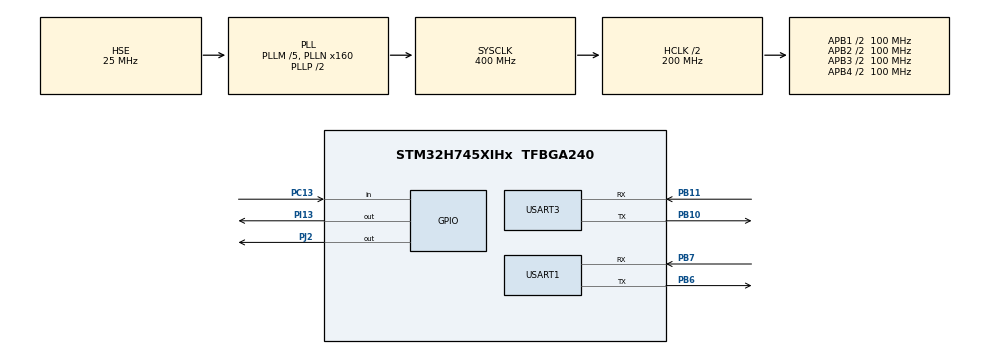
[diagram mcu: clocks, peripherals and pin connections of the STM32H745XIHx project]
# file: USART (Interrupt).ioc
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CortexM4.IPs=FATFS_M4\:I,FREERTOS_M4\:I,IWDG2\:I,RCC,USB_DEVICE_M4\:I,USB_HOST_M4\:I,WWDG2\:I,DMA,BDMA,MDMA,NVIC2\:I,ETH\:I,FDCAN1\:I,FDCAN2\:I,FMC\:I,QUADSPI\:I,SAI2\:I,SDMMC1\:I,USART3,LTDC\:I,USB_OTG_FS\:I,SAI4\:I,DEBUG,PDM2PCM_M4\:I,PWR,RESMGR_UTILITY,SYS_M4\:I,CORTEX_M4\:I,OPENAMP_M4\:I,VREFBUF
CortexM7.IPs=FATFS_M7\:I,FREERTOS_M7\:I,IWDG1\:I,RCC\:I,USB_DEVICE_M7\:I,USB_HOST_M7\:I,WWDG1\:I,DMA\:I,BDMA\:I,MDMA\:I,NVIC1\:I,CORTEX_M7\:I,DEBUG\:I,PDM2PCM_M7\:I,PWR\:I,RESMGR_UTILITY\:I,SYS\:I,OPENAMP_M7\:I,VREFBUF\:I,USART1\:I,USART3\:I,TIM5\:I,TIM6\:I
CortexM7.Pins=PC13,PI13,PJ2
Dma.Request0=USART1_RX
Dma.USART1_RX.0.Direction=DMA_PERIPH_TO_MEMORY
Dma.USART1_RX.0.EventEnable=DISABLE
Dma.USART1_RX.0.FIFOMode=DMA_FIFOMODE_DISABLE
Dma.USART1_RX.0.Instance=DMA2_Stream5
Dma.USART1_RX.0.MemDataAlignment=DMA_MDATAALIGN_BYTE
Dma.USART1_RX.0.MemInc=DMA_MINC_ENABLE
Dma.USART1_RX.0.Mode=DMA_NORMAL
Dma.USART1_RX.0.PeriphDataAlignment=DMA_PDATAALIGN_BYTE
Dma.USART1_RX.0.PeriphInc=DMA_PINC_DISABLE
Dma.USART1_RX.0.Polarity=HAL_DMAMUX_REQ_GEN_RISING
Dma.USART1_RX.0.Priority=DMA_PRIORITY_LOW
Dma.USART1_RX.0.RequestNumber=1
Dma.USART1_RX.0.SignalID=NONE
Dma.USART1_RX.0.SyncEnable=DISABLE
Dma.USART1_RX.0.SyncPolarity=HAL_DMAMUX_SYNC_NO_EVENT
Dma.USART1_RX.0.SyncRequestNumber=1
Dma.USART1_RX.0.SyncSignalID=NONE
Mcu.Family=STM32H7
Mcu.Name=STM32H745XIHx
Mcu.Package=TFBGA240
NVIC1.DMA2_Stream5_IRQn=true\:0\:0\:false\:false\:true\:false\:true
NVIC1.PriorityGroup=NVIC_PRIORITYGROUP_4
NVIC1.TIM6_DAC_IRQn=true\:0\:0\:false\:false\:true\:true\:true
NVIC1.USART1_IRQn=true\:0\:0\:false\:false\:true\:true\:true
NVIC1.USART3_IRQn=true\:0\:0\:false\:false\:true\:true\:true
NVIC2.PriorityGroup=NVIC_PRIORITYGROUP_4
PB10.Mode=Asynchronous
PB10.PinAttribute=CortexM7
PB10.Signal=USART3_TX
PB11.Mode=Asynchronous
PB11.PinAttribute=CortexM7
PB11.Signal=USART3_RX
PB6.Mode=Asynchronous
PB6.PinAttribute=CortexM7
PB6.Signal=USART1_TX
PB7.Mode=Asynchronous
PB7.PinAttribute=CortexM7
PB7.Signal=USART1_RX
PC13.PinAttribute=CortexM7
PC13.Signal=GPIO_Input
PH0-OSC_IN\ (PH0).Mode=HSE-External-Clock-Source
PH0-OSC_IN\ (PH0).PinAttribute=CortexM7
PH0-OSC_IN\ (PH0).Signal=RCC_OSC_IN
PI13.PinAttribute=CortexM7
PI13.Signal=GPIO_Output
PJ2.PinAttribute=CortexM7
PJ2.Signal=GPIO_Output
ProjectManager.HeapSize=M4-0x200,M7-0x200
ProjectManager.StackSize=M4-0x400,M7-0x400
ProjectManager.TargetToolchain=STM32CubeIDE
RCC.ADCFreq_Value=50390625
RCC.APB1Freq_Value=100000000
RCC.APB2Freq_Value=100000000
RCC.APB3Freq_Value=100000000
RCC.APB4Freq_Value=100000000
RCC.CortexFreq_Value=400000000
RCC.D1PPRE=RCC_APB3_DIV2
RCC.D2PPRE1=RCC_APB1_DIV2
RCC.D2PPRE2=RCC_APB2_DIV2
RCC.D3PPRE=RCC_APB4_DIV2
RCC.DIVM1=5
RCC.DIVN1=160
RCC.DIVN3=192
RCC.DIVQ1=4
RCC.DIVR1=4
RCC.HCLKFreq_Value=200000000
RCC.HPRE=RCC_HCLK_DIV2
RCC.PLL2FRACN=0
RCC.PLL3FRACN=0
RCC.PLLFRACN=0
RCC.PLLSourceVirtual=RCC_PLLSOURCE_HSE
RCC.PWR_Regulator_Voltage_Scale=PWR_REGULATOR_VOLTAGE_SCALE1
RCC.SYSCLKFreq_VALUE=400000000
RCC.SYSCLKSource=RCC_SYSCLKSOURCE_PLLCLK
RCC.SupplySource=PWR_DIRECT_SMPS_SUPPLY
RCC.USBFreq_Value=200000000
TIM6.AutoReloadPreload=TIM_AUTORELOAD_PRELOAD_ENABLE
TIM6.Prescaler=200
USART1.VirtualMode-Asynchronous=VM_ASYNC
USART3.VirtualMode-Asynchronous=VM_ASYNC
VP_SYS_M4_VS_Systick.Mode=SysTick
VP_TIM6_VS_ClockSourceINT.Mode=Enable_Timer
board=STM32H745I-DISCO

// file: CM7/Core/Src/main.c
/* USER CODE BEGIN Header */
/**
  ******************************************************************************
  * @file           : main.c
  * @brief          : Main program body
  ******************************************************************************
  * @attention
  *
  * <h2><center>&copy; Copyright (c) 2022 STMicroelectronics.
  * All rights reserved.</center></h2>
  *
  * This software component is licensed by ST under BSD 3-Clause license,
  * the "License"; You may not use this file except in compliance with the
  * License. You may obtain a copy of the License at:
  *                        opensource.org/licenses/BSD-3-Clause
  *
  ******************************************************************************
  */
/* USER CODE END Header */
#include "main.h"

/* USER CODE BEGIN PTD */
#define TRUE  1
#define FALSE 0
/* USER CODE END PTD */

/* USER CODE BEGIN PD */

#ifndef HSEM_ID_0
#define HSEM_ID_0 (0U) /* HW semaphore 0*/
#endif
/* USER CODE END PD */

TIM_HandleTypeDef htim6;

UART_HandleTypeDef huart1;
UART_HandleTypeDef huart3;
DMA_HandleTypeDef hdma_usart1_rx;

void SystemClock_Config(void);
static void MX_GPIO_Init(void);
static void MX_USART1_UART_Init(void);
static void MX_USART3_UART_Init(void);
static void MX_DMA_Init(void);
static void MX_TIM6_Init(void);

/* USER CODE BEGIN 0 */
uint8_t Tx_Data[20]= "hello\r\n";
uint8_t Tx1_Data[20]= "All goods?\r";
uint8_t Rx_Data;
uint8_t buff[20]={0};
uint16_t Flag=FALSE;
uint16_t i=0;
uint8_t Pin_status;
uint16_t prev_time,curr_time,tim;
/* USER CODE END 0 */

int main(void)
{
/* USER CODE BEGIN Boot_Mode_Sequence_0 */
//  int32_t timeout;
/* USER CODE END Boot_Mode_Sequence_0 */

/* USER CODE BEGIN Boot_Mode_Sequence_1 */
//  /* Wait until CPU2 boots and enters in stop mode or timeout*/
//  timeout = 0xFFFF;
//  while((__HAL_RCC_GET_FLAG(RCC_FLAG_D2CKRDY) != RESET) && (timeout-- > 0));
//  if ( timeout < 0 )
//  {
//  Error_Handler();
//  }
/* USER CODE END Boot_Mode_Sequence_1 */
  /* MCU Configuration--------------------------------------------------------*/

  /* Reset of all peripherals, Initializes the Flash interface and the Systick. */
  HAL_Init();

  /* Configure the system clock */
  SystemClock_Config();
/* USER CODE BEGIN Boot_Mode_Sequence_2 */
/* When system initialization is finished, Cortex-M7 will release Cortex-M4 by means of
HSEM notification */
/*HW semaphore Clock enable*/
//__HAL_RCC_HSEM_CLK_ENABLE();
///*Take HSEM */
//HAL_HSEM_FastTake(HSEM_ID_0);
///*Release HSEM in order to notify the CPU2(CM4)*/
//HAL_HSEM_Release(HSEM_ID_0,0);
///* wait until CPU2 wakes up from stop mode */
//timeout = 0xFFFF;
//while((__HAL_RCC_GET_FLAG(RCC_FLAG_D2CKRDY) == RESET) && (timeout-- > 0));
//if ( timeout < 0 )
//{
//Error_Handler();
//}
/* USER CODE END Boot_Mode_Sequence_2 */

  /* Initialize all configured peripherals */
  MX_DMA_Init();
  MX_GPIO_Init();
  MX_USART1_UART_Init();
  MX_USART3_UART_Init();
  MX_TIM6_Init();
  /* USER CODE BEGIN 2 */
  HAL_TIM_Base_Start(&htim6);

  prev_time=__HAL_TIM_GET_COUNTER(&htim6);
  //HAL_Delay(1000);
  HAL_UART_Transmit(&huart1, Tx_Data, sizeof(Tx_Data), 1000);
  HAL_GPIO_TogglePin(GPIOJ, GPIO_PIN_2);
  curr_time=__HAL_TIM_GET_COUNTER(&htim6);
  HAL_UART_Receive_IT(&huart1, &Rx_Data, 1);
  //UART_Start_Receive_DMA(&huart1, buff,1);

  //HAL_UART_Receive_DMA (&huart1, buff,1);

//
  tim=curr_time-prev_time;
  /* USER CODE END 2 */

  /* Infinite loop */
  /* USER CODE BEGIN WHILE */
  while (1)
  {
	   Pin_status=HAL_GPIO_ReadPin(GPIOC, GPIO_PIN_13);

	  if(Flag && Pin_status==GPIO_PIN_SET)
	  	  {
				HAL_UART_Transmit(&huart1, Tx1_Data, sizeof(Tx1_Data), 1000);
				HAL_GPIO_TogglePin(GPIOJ, GPIO_PIN_2);
				HAL_UART_Receive_IT(&huart1, &Rx_Data, 1);
				//HAL_UART_Receive_DMA (&huart1, buff,sizeof(buff));

				Flag = FALSE;
				i = 0;
				HAL_Delay(1000);
	  	  }
    /* USER CODE END WHILE */

  }
}

void SystemClock_Config(void)
{
  RCC_OscInitTypeDef RCC_OscInitStruct = {0};
  RCC_ClkInitTypeDef RCC_ClkInitStruct = {0};

  /** Supply configuration update enable
  */
  HAL_PWREx_ConfigSupply(PWR_DIRECT_SMPS_SUPPLY);
  /** Configure the main internal regulator output voltage
  */
  __HAL_PWR_VOLTAGESCALING_CONFIG(PWR_REGULATOR_VOLTAGE_SCALE1);

  while(!__HAL_PWR_GET_FLAG(PWR_FLAG_VOSRDY)) {}
  /** Initializes the RCC Oscillators according to the specified parameters
  * in the RCC_OscInitTypeDef structure.
  */
  RCC_OscInitStruct.OscillatorType = RCC_OSCILLATORTYPE_HSE;
  RCC_OscInitStruct.HSEState = RCC_HSE_BYPASS;
  RCC_OscInitStruct.PLL.PLLState = RCC_PLL_ON;
  RCC_OscInitStruct.PLL.PLLSource = RCC_PLLSOURCE_HSE;
  RCC_OscInitStruct.PLL.PLLM = 5;
  RCC_OscInitStruct.PLL.PLLN = 160;
  RCC_OscInitStruct.PLL.PLLP = 2;
  RCC_OscInitStruct.PLL.PLLQ = 4;
  RCC_OscInitStruct.PLL.PLLR = 4;
  RCC_OscInitStruct.PLL.PLLRGE = RCC_PLL1VCIRANGE_2;
  RCC_OscInitStruct.PLL.PLLVCOSEL = RCC_PLL1VCOWIDE;
  RCC_OscInitStruct.PLL.PLLFRACN = 0;
  if (HAL_RCC_OscConfig(&RCC_OscInitStruct) != HAL_OK)
  {
    Error_Handler();
  }
  /** Initializes the CPU, AHB and APB buses clocks
  */
  RCC_ClkInitStruct.ClockType = RCC_CLOCKTYPE_HCLK|RCC_CLOCKTYPE_SYSCLK
                              |RCC_CLOCKTYPE_PCLK1|RCC_CLOCKTYPE_PCLK2
                              |RCC_CLOCKTYPE_D3PCLK1|RCC_CLOCKTYPE_D1PCLK1;
  RCC_ClkInitStruct.SYSCLKSource = RCC_SYSCLKSOURCE_PLLCLK;
  RCC_ClkInitStruct.SYSCLKDivider = RCC_SYSCLK_DIV1;
  RCC_ClkInitStruct.AHBCLKDivider = RCC_HCLK_DIV2;
  RCC_ClkInitStruct.APB3CLKDivider = RCC_APB3_DIV2;
  RCC_ClkInitStruct.APB1CLKDivider = RCC_APB1_DIV2;
  RCC_ClkInitStruct.APB2CLKDivider = RCC_APB2_DIV2;
  RCC_ClkInitStruct.APB4CLKDivider = RCC_APB4_DIV2;

  if (HAL_RCC_ClockConfig(&RCC_ClkInitStruct, FLASH_LATENCY_2) != HAL_OK)
  {
    Error_Handler();
  }
}

static void MX_TIM6_Init(void)
{

  TIM_MasterConfigTypeDef sMasterConfig = {0};

  htim6.Instance = TIM6;
  htim6.Init.Prescaler = 200;
  htim6.Init.CounterMode = TIM_COUNTERMODE_UP;
  htim6.Init.Period = 65535;
  htim6.Init.AutoReloadPreload = TIM_AUTORELOAD_PRELOAD_ENABLE;
  if (HAL_TIM_Base_Init(&htim6) != HAL_OK)
  {
    Error_Handler();
  }
  sMasterConfig.MasterOutputTrigger = TIM_TRGO_RESET;
  sMasterConfig.MasterSlaveMode = TIM_MASTERSLAVEMODE_DISABLE;
  if (HAL_TIMEx_MasterConfigSynchronization(&htim6, &sMasterConfig) != HAL_OK)
  {
    Error_Handler();
  }

}

static void MX_USART1_UART_Init(void)
{

  huart1.Instance = USART1;
  huart1.Init.BaudRate = 115200;
  huart1.Init.WordLength = UART_WORDLENGTH_8B;
  huart1.Init.StopBits = UART_STOPBITS_1;
  huart1.Init.Parity = UART_PARITY_NONE;
  huart1.Init.Mode = UART_MODE_TX_RX;
  huart1.Init.HwFlowCtl = UART_HWCONTROL_NONE;
  huart1.Init.OverSampling = UART_OVERSAMPLING_16;
  huart1.Init.OneBitSampling = UART_ONE_BIT_SAMPLE_DISABLE;
  huart1.Init.ClockPrescaler = UART_PRESCALER_DIV1;
  huart1.AdvancedInit.AdvFeatureInit = UART_ADVFEATURE_NO_INIT;
  if (HAL_UART_Init(&huart1) != HAL_OK)
  {
    Error_Handler();
  }
  if (HAL_UARTEx_SetTxFifoThreshold(&huart1, UART_TXFIFO_THRESHOLD_1_8) != HAL_OK)
  {
    Error_Handler();
  }
  if (HAL_UARTEx_SetRxFifoThreshold(&huart1, UART_RXFIFO_THRESHOLD_1_8) != HAL_OK)
  {
    Error_Handler();
  }
  if (HAL_UARTEx_DisableFifoMode(&huart1) != HAL_OK)
  {
    Error_Handler();
  }

}

static void MX_USART3_UART_Init(void)
{

  huart3.Instance = USART3;
  huart3.Init.BaudRate = 115200;
  huart3.Init.WordLength = UART_WORDLENGTH_8B;
  huart3.Init.StopBits = UART_STOPBITS_1;
  huart3.Init.Parity = UART_PARITY_NONE;
  huart3.Init.Mode = UART_MODE_TX_RX;
  huart3.Init.HwFlowCtl = UART_HWCONTROL_NONE;
  huart3.Init.OverSampling = UART_OVERSAMPLING_16;
  huart3.Init.OneBitSampling = UART_ONE_BIT_SAMPLE_DISABLE;
  huart3.Init.ClockPrescaler = UART_PRESCALER_DIV1;
  huart3.AdvancedInit.AdvFeatureInit = UART_ADVFEATURE_NO_INIT;
  if (HAL_UART_Init(&huart3) != HAL_OK)
  {
    Error_Handler();
  }
  if (HAL_UARTEx_SetTxFifoThreshold(&huart3, UART_TXFIFO_THRESHOLD_1_8) != HAL_OK)
  {
    Error_Handler();
  }
  if (HAL_UARTEx_SetRxFifoThreshold(&huart3, UART_RXFIFO_THRESHOLD_1_8) != HAL_OK)
  {
    Error_Handler();
  }
  if (HAL_UARTEx_DisableFifoMode(&huart3) != HAL_OK)
  {
    Error_Handler();
  }

}

static void MX_DMA_Init(void)
{

  /* DMA controller clock enable */
  __HAL_RCC_DMA2_CLK_ENABLE();

  /* DMA interrupt init */
  /* DMA2_Stream5_IRQn interrupt configuration */
  HAL_NVIC_SetPriority(DMA2_Stream5_IRQn, 0, 0);
  HAL_NVIC_EnableIRQ(DMA2_Stream5_IRQn);

}

static void MX_GPIO_Init(void)
{
  GPIO_InitTypeDef GPIO_InitStruct = {0};

  /* GPIO Ports Clock Enable */
  __HAL_RCC_GPIOB_CLK_ENABLE();
  __HAL_RCC_GPIOC_CLK_ENABLE();
  __HAL_RCC_GPIOI_CLK_ENABLE();
  __HAL_RCC_GPIOH_CLK_ENABLE();
  __HAL_RCC_GPIOJ_CLK_ENABLE();

  /*Configure GPIO pin Output Level */
  HAL_GPIO_WritePin(GPIOI, GPIO_PIN_13, GPIO_PIN_RESET);

  /*Configure GPIO pin Output Level */
  HAL_GPIO_WritePin(GPIOJ, GPIO_PIN_2, GPIO_PIN_RESET);

  /*Configure GPIO pin : PC13 */
  GPIO_InitStruct.Pin = GPIO_PIN_13;
  GPIO_InitStruct.Mode = GPIO_MODE_INPUT;
  GPIO_InitStruct.Pull = GPIO_NOPULL;
  HAL_GPIO_Init(GPIOC, &GPIO_InitStruct);

  /*Configure GPIO pin : PI13 */
  GPIO_InitStruct.Pin = GPIO_PIN_13;
  GPIO_InitStruct.Mode = GPIO_MODE_OUTPUT_PP;
  GPIO_InitStruct.Pull = GPIO_NOPULL;
  GPIO_InitStruct.Speed = GPIO_SPEED_FREQ_LOW;
  HAL_GPIO_Init(GPIOI, &GPIO_InitStruct);

  /*Configure GPIO pin : PJ2 */
  GPIO_InitStruct.Pin = GPIO_PIN_2;
  GPIO_InitStruct.Mode = GPIO_MODE_OUTPUT_PP;
  GPIO_InitStruct.Pull = GPIO_NOPULL;
  GPIO_InitStruct.Speed = GPIO_SPEED_FREQ_LOW;
  HAL_GPIO_Init(GPIOJ, &GPIO_InitStruct);

}

/* USER CODE BEGIN 4 */
void HAL_UART_RxCpltCallback(UART_HandleTypeDef *huart)
{
	buff[i] = Rx_Data;
	if(buff[i] == '\r')
	{
		Flag = TRUE;
		HAL_GPIO_TogglePin(GPIOI, GPIO_PIN_13);
		HAL_UART_Transmit(&huart3, buff, sizeof(buff), 1000);
		//HAL_UART_Receive_DMA (&huart1, buff,sizeof(buff));
	}
	HAL_UART_Receive_IT(&huart1, &Rx_Data, 1);

	if(i>=sizeof(buff))
	{
		i = 0;
	}
	else
	{
		i++;
	}

}

void HAL_UART_TxCpltCallback(UART_HandleTypeDef *huart)
{

}

/* USER CODE END 4 */

void Error_Handler(void)
{
  __disable_irq();
  while (1)
  {
  }
}

/************************ (C) COPYRIGHT STMicroelectronics *****END OF FILE****/
